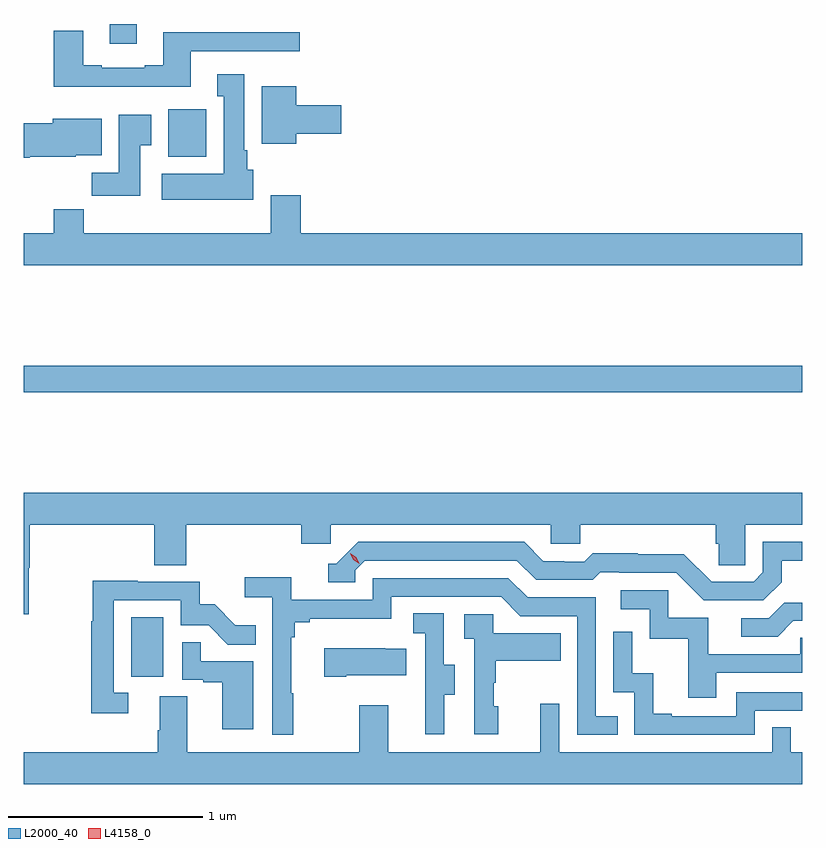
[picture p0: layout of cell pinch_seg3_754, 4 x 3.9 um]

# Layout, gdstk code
import gdstk
lib = gdstk.Library(unit=1e-6, precision=1e-09)
def R(c, l, rs):  # rectangles x0, y0, x1, y1
    for r in rs: c.add(gdstk.rectangle(r[:2], r[2:], *l))
def P(c, l, *ps):  # polygons
    for p in ps: c.add(gdstk.Polygon(p, *l))
L2000_40 = (2000, 40)
L4158_0 = (4158, 0)

pinch_seg3_754 = lib.new_cell('pinch_seg3_754')
R(pinch_seg3_754, L2000_40, [(855.296,734.766,855.46,735.073), (854.743,736.228,858.743,736.364), (855.485,737.438,855.682,737.68), (855.185,738.018,855.325,738.119)])
P(pinch_seg3_754, L2000_40, [(855.601,737.979),(856.162,737.979),(856.162,738.076),(855.461,738.076),(855.461,737.908),(855.365,737.908),(855.365,737.895),(855.145,737.895),(855.145,737.908),(855.049,737.908),(855.049,738.085),(854.897,738.085),(854.897,737.798),(855.601,737.798)],
  [(855.922,737.37),(855.892,737.37),(855.892,737.47),(855.877,737.47),(855.877,737.86),(855.737,737.86),(855.737,737.747),(855.77,737.747),(855.77,737.35),(855.453,737.35),(855.453,737.216),(855.922,737.216)],
  [(856.144,737.555),(856.375,737.555),(856.375,737.702),(856.144,737.702),(856.144,737.8),(855.965,737.8),(855.965,737.504),(856.144,737.504)],
  [(855.343,737.497),(855.4,737.497),(855.4,737.653),(855.233,737.653),(855.233,737.356),(855.094,737.356),(855.094,737.238),(855.343,737.238)],
  [(854.776,737.438),(855.012,737.438),(855.012,737.444),(855.145,737.444),(855.145,737.632),(854.894,737.632),(854.894,737.609),(854.743,737.609),(854.743,737.431),(854.776,737.431)],
  [(858.743,737.044),(856.166,737.044),(856.166,737.239),(856.013,737.239),(856.013,737.044),(855.053,737.044),(855.053,737.168),(854.897,737.168),(854.897,737.044),(854.743,737.044),(854.743,736.88),(858.743,736.88)],
  [(854.769,735.326),(854.774,735.326),(854.774,735.548),(855.413,735.548),(855.413,735.34),(855.578,735.34),(855.578,735.548),(856.169,735.548),(856.169,735.45),(856.32,735.45),(856.32,735.548),(857.451,735.548),(857.451,735.45),(857.601,735.45),(857.601,735.548),(858.299,735.548),(858.299,735.45),(858.313,735.45),(858.313,735.34),(858.45,735.34),(858.45,735.548),(858.743,735.548),(858.743,735.712),(854.743,735.712),(854.743,735.087),(854.769,735.087)],
  [(858.637,735.253),(858.637,735.363),(858.743,735.363),(858.743,735.459),(858.54,735.459),(858.54,735.303),(858.492,735.255),(858.276,735.255),(858.134,735.397),(857.898,735.397),(857.898,735.4),(857.665,735.4),(857.623,735.357),(857.52,735.357),(857.52,735.36),(857.413,735.36),(857.314,735.459),(856.461,735.459),(856.35,735.348),(856.307,735.348),(856.307,735.252),(856.446,735.252),(856.446,735.315),(856.494,735.363),(857.277,735.363),(857.376,735.264),(857.665,735.264),(857.704,735.303),(857.803,735.303),(857.803,735.3),(858.096,735.3),(858.237,735.159),(858.543,735.159)],
  [(856.129,734.681),(856.117,734.681),(856.117,734.969),(856.136,734.969),(856.136,735.046),(856.213,735.046),(856.213,735.065),(856.632,735.065),(856.632,735.177),(857.196,735.177),(857.295,735.078),(857.586,735.078),(857.586,734.469),(857.795,734.469),(857.795,734.565),(857.682,734.565),(857.682,735.174),(857.332,735.174),(857.233,735.273),(856.536,735.273),(856.536,735.162),(856.118,735.162),(856.118,735.278),(855.879,735.278),(855.879,735.176),(856.02,735.176),(856.02,734.469),(856.129,734.469)],
  [(855.28,734.685),(855.207,734.685),(855.207,735.159),(855.549,735.159),(855.549,735.03),(855.693,735.03),(855.791,734.932),(855.935,734.932),(855.935,735.031),(855.831,735.031),(855.724,735.138),(855.648,735.138),(855.648,735.255),(855.329,735.255),(855.329,735.26),(855.099,735.26),(855.099,735.052),(855.091,735.052),(855.091,734.58),(855.28,734.58)],
  [(858.301,734.787),(858.743,734.787),(858.743,734.967),(858.733,734.967),(858.733,734.883),(858.259,734.883),(858.259,735.069),(858.054,735.069),(858.054,735.21),(857.811,735.21),(857.811,735.114),(857.958,735.114),(857.958,734.961),(858.157,734.961),(858.157,734.658),(858.301,734.658)],
  [(858.697,735.054),(858.743,735.054),(858.743,735.146),(858.65,735.146),(858.57,735.066),(858.429,735.066),(858.429,734.973),(858.616,734.973)],
  [(856.903,734.674),(856.957,734.674),(856.957,734.829),(856.902,734.829),(856.902,735.092),(856.743,735.092),(856.743,734.989),(856.806,734.989),(856.806,734.685),(856.805,734.685),(856.805,734.472),(856.903,734.472)],
  [(857.182,734.616),(857.157,734.616),(857.157,734.735),(857.167,734.735),(857.167,734.849),(857.501,734.849),(857.501,734.989),(857.154,734.989),(857.154,735.087),(857.007,735.087),(857.007,734.963),(857.058,734.963),(857.058,734.472),(857.182,734.472)],
  [(858.498,734.592),(858.743,734.592),(858.743,734.688),(858.402,734.688),(858.402,734.565),(858.073,734.565),(858.073,734.578),(857.978,734.578),(857.978,734.786),(857.868,734.786),(857.868,734.998),(857.772,734.998),(857.772,734.688),(857.88,734.688),(857.88,734.469),(858.498,734.469)],
  [(855.922,734.847),(855.653,734.847),(855.653,734.945),(855.558,734.945),(855.558,734.751),(855.665,734.751),(855.665,734.739),(855.764,734.739),(855.764,734.496),(855.922,734.496)],
  [(856.399,734.774),(856.709,734.774),(856.709,734.911),(856.601,734.911),(856.601,734.914),(856.287,734.914),(856.287,734.767),(856.399,734.767)],
  [(858.743,734.38),(858.684,734.38),(858.684,734.507),(858.588,734.507),(858.588,734.38),(857.493,734.38),(857.493,734.629),(857.396,734.629),(857.396,734.38),(856.615,734.38),(856.615,734.62),(856.468,734.62),(856.468,734.38),(855.583,734.38),(855.583,734.666),(855.443,734.666),(855.443,734.492),(855.431,734.492),(855.431,734.38),(854.743,734.38),(854.743,734.216),(858.743,734.216)])
P(pinch_seg3_754, L4158_0, [(856.468,735.347),(856.437,735.367),(856.421,735.4),(856.421,735.4),(856.421,735.4),(856.452,735.38),(856.468,735.348),(856.468,735.347)])

lib.write_gds('pinch_seg3_754.gds')
